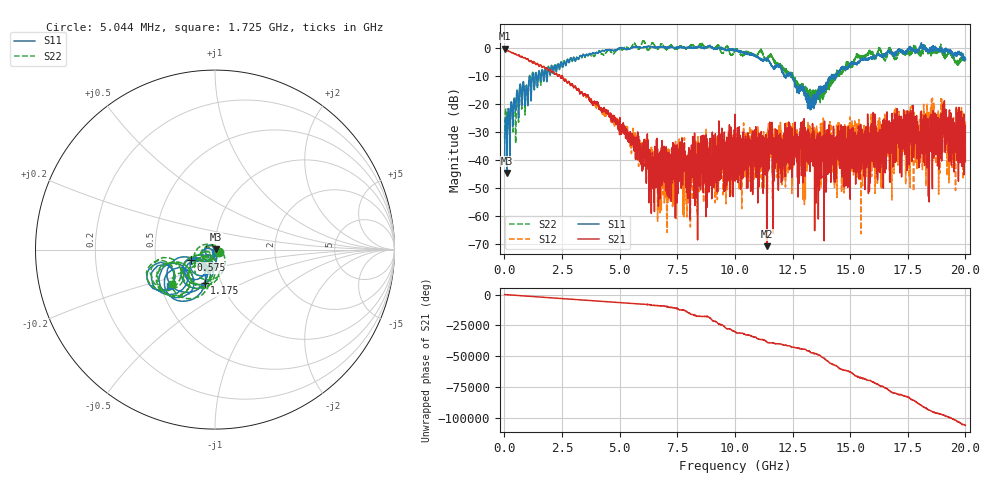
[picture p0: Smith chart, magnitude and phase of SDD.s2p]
! S Parameters saved at 10:12:55 08/31/07
# HZ DB S R 50
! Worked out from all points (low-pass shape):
!   3965 points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, 5.044 MHz to 20 GHz, reference 50 ohm
!   highest |S21| = -0.16 dB at 5.044 MHz (marker M1); lowest = -70.9 dB at 11.38 GHz (marker M2)
!   |S21| within 3 dB of the highest: start of sweep to 774.5 MHz
!   lowest |S11| = -44.6 dB at 111 MHz (marker M3), VSWR 1.01, Z = 50.6 + j0.137 ohm
!   |S11| at or under -10 dB: start of sweep to 1.201 GHz; 1.391 GHz to 1.466 GHz (74.68 MHz wide, 5.23 % of centre); 12.49 GHz to 14.18 GHz (1.686 GHz wide, 12.6 % of centre)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
!   |S22| runs from -36.8 to 2.8 dB; largest |S21 - S12| = 0.16
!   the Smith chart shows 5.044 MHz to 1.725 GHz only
!   S11 on the Smith chart (normalised r, x): 5.044 MHz: 1.01, -0.01; 575 MHz: 0.76, -0.09; 1.175 GHz: 0.84, -0.32; 1.725 GHz: 0.56, -0.25
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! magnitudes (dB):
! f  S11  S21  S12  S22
! 5.044 MHz  -40.0  -0.2  -0.1  -32.4
! 111 MHz  -44.6  -0.7  -0.7  -36.8
! 575 MHz  -16.8  -2.5  -2.5  -16.8
! 1.175 GHz  -14.3  -4.7  -4.6  -12.1
! 1.725 GHz  -9.9  -6.6  -6.8  -10.3
! 3.339 GHz  -3.0  -15.6  -15.7  -3.2
! 5.634 GHz  0.5  -36.9  -31.4  1.7
! 6.673 GHz  0.4  -41.3  -41.8  -0.1
! 7.299 GHz  0.3  -45.5  -46.9  0.6
! 7.561 GHz  0.4  -38.3  -42.1  0.3
! 7.975 GHz  0.3  -42.1  -41.8  0.3
! 10 GHz  -0.4  -23.6  -28.1  -0.4
! 11.38 GHz  -4.1  -70.9  -31.8  -4.0
! 12.9 GHz  -14.5  -27.5  -31.8  -13.7
! 13.34 GHz  -20.6  -31.1  -32.3  -15.1
! 14.64 GHz  -7.0  -31.8  -33.7  -8.6
! 16.67 GHz  -0.7  -28.5  -26.8  0.0
! 17.7 GHz  -0.8  -30.2  -29.1  -0.2
! 17.93 GHz  -0.7  -34.6  -32.4  -1.1
! 18.48 GHz  -0.5  -25.6  -29.2  -1.9
! 19.11 GHz  -1.2  -28.9  -21.8  -3.8
! 20 GHz  -3.9  -40.6  -25.9  -4.7
